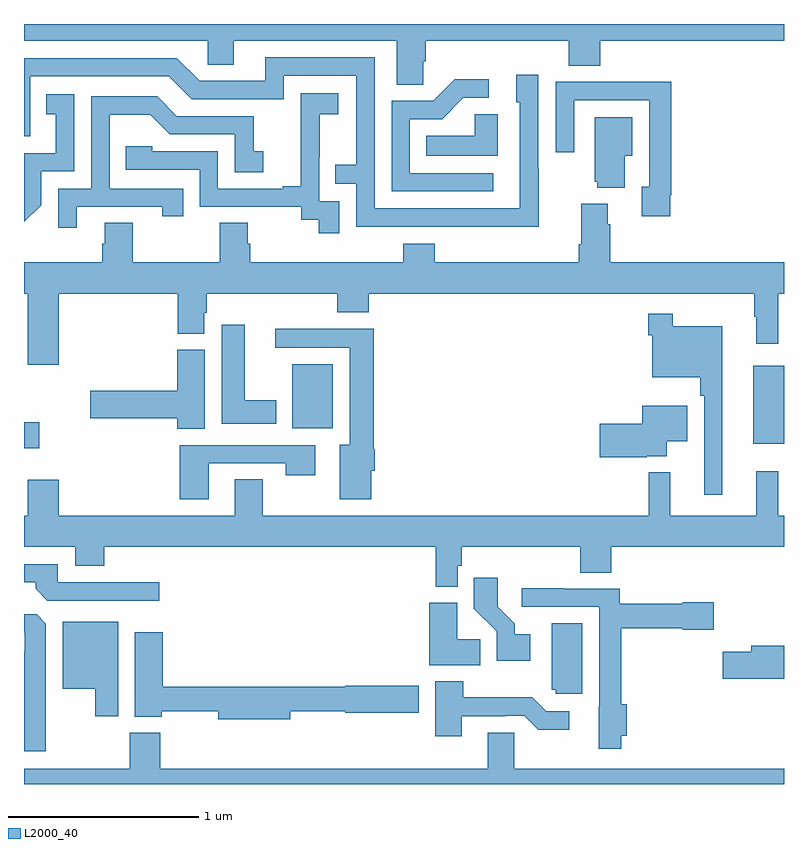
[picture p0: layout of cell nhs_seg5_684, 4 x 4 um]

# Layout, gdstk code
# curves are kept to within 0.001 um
import gdstk
lib = gdstk.Library(unit=1e-6, precision=1e-09)
def R(c, l, rs):  # rectangles x0, y0, x1, y1
    for r in rs: c.add(gdstk.rectangle(r[:2], r[2:], *l))
def P(c, l, *ps):  # polygons
    for p in ps: c.add(gdstk.Polygon(p, *l))
L2000_40 = (2000, 40)

nhs_seg5_684 = lib.new_cell('nhs_seg5_684')
R(nhs_seg5_684, L2000_40, [(153,902.567,153.079,902.702), (156.839,902.591,157,903.001), (154.412,902.672,154.624,903.007)])
P(nhs_seg5_684, L2000_40, [(153,904.712),(153.966,904.712),(153.966,904.585),(154.105,904.585),(154.105,904.712),(154.961,904.712),(154.961,904.48),(155.1,904.48),(155.1,904.603),(155.114,904.603),(155.114,904.712),(155.867,904.712),(155.867,904.579),(156.032,904.579),(156.032,904.712),(157,904.712),(157,904.799),(153,904.799)],
  [(155.709,904.037),(155.706,904.037),(155.706,904.531),(155.591,904.531),(155.591,904.386),(155.61,904.386),(155.61,903.828),(154.845,903.828),(154.845,904.623),(154.271,904.623),(154.271,904.5),(153.924,904.5),(153.804,904.62),(153,904.62),(153,904.209),(153.033,904.209),(153.033,904.524),(153.762,904.524),(153.882,904.404),(154.368,904.404),(154.368,904.527),(154.749,904.527),(154.749,904.058),(154.639,904.058),(154.639,903.957),(154.749,903.957),(154.749,903.732),(155.709,903.731)],
  [(155.47,904.014),(155.031,904.014),(155.031,904.299),(155.2,904.299),(155.311,904.41),(155.446,904.41),(155.446,904.508),(155.267,904.508),(155.154,904.395),(154.935,904.395),(154.935,903.918),(155.47,903.918)],
  [(156.4,903.898),(156.407,903.898),(156.407,904.496),(156.115,904.496),(156.115,904.494),(155.799,904.494),(155.799,904.125),(155.895,904.125),(155.895,904.398),(156.291,904.398),(156.291,903.942),(156.251,903.942),(156.251,903.786),(156.4,903.786)],
  [(154.659,903.867),(154.554,903.867),(154.554,904.097),(154.556,904.097),(154.556,904.325),(154.654,904.325),(154.654,904.435),(154.456,904.435),(154.456,904.229),(154.457,904.229),(154.457,903.946),(154.361,903.946),(154.361,903.933),(154.02,903.933),(154.02,904.128),(153.675,904.128),(153.675,904.155),(153.535,904.155),(153.535,904.032),(153.924,904.032),(153.924,903.837),(154.458,903.837),(154.458,903.769),(154.551,903.769),(154.551,903.699),(154.659,903.699)],
  [(153.09,903.846),(153.09,904.023),(153.264,904.023),(153.264,904.429),(153.118,904.429),(153.118,904.323),(153.167,904.323),(153.167,904.119),(153,904.119),(153,903.757)],
  [(153.277,903.837),(153.728,903.837),(153.728,903.786),(153.839,903.786),(153.839,903.933),(153.45,903.933),(153.45,904.322),(153.664,904.322),(153.768,904.218),(154.11,904.218),(154.11,904.02),(154.258,904.02),(154.258,904.129),(154.209,904.129),(154.209,904.314),(153.805,904.314),(153.7,904.419),(153.354,904.419),(153.354,903.933),(153.18,903.933),(153.18,903.726),(153.277,903.726)],
  [(155.494,904.325),(155.373,904.325),(155.373,904.21),(155.116,904.21),(155.116,904.106),(155.494,904.106)],
  [(156.163,904.106),(156.202,904.106),(156.202,904.309),(156.005,904.309),(156.005,903.969),(156.017,903.969),(156.017,903.938),(156.163,903.938)],
  [(153.184,903.38),(153.809,903.38),(153.809,903.169),(153.949,903.169),(153.949,903.279),(153.962,903.279),(153.962,903.38),(154.649,903.38),(154.649,903.281),(154.814,903.281),(154.814,903.38),(156.843,903.38),(156.843,903.257),(156.854,903.257),(156.854,903.117),(156.971,903.117),(156.971,903.38),(157,903.38),(157,903.544),(156.086,903.544),(156.086,903.746),(156.073,903.746),(156.073,903.853),(155.933,903.853),(155.933,903.64),(155.921,903.64),(155.921,903.544),(155.162,903.544),(155.162,903.643),(154.997,903.643),(154.997,903.544),(154.19,903.544),(154.19,903.642),(154.177,903.642),(154.177,903.752),(154.03,903.752),(154.03,903.544),(153.573,903.544),(153.573,903.752),(153.425,903.752),(153.425,903.642),(153.413,903.642),(153.413,903.544),(153,903.544),(153,903.38),(153.02,903.38),(153.02,903.006),(153.184,903.006)],
  [(156.676,903.208),(156.415,903.208),(156.415,903.274),(156.286,903.274),(156.286,903.161),(156.306,903.161),(156.306,902.939),(156.559,902.939),(156.559,902.843),(156.579,902.843),(156.579,902.322),(156.676,902.322)],
  [(154.327,902.818),(154.162,902.818),(154.162,903.217),(154.04,903.217),(154.04,902.696),(154.327,902.696)],
  [(154.828,902.448),(154.846,902.448),(154.846,902.562),(154.841,902.562),(154.841,903.194),(154.323,903.194),(154.323,903.096),(154.715,903.096),(154.715,902.584),(154.661,902.584),(154.661,902.298),(154.828,902.298)],
  [(153.952,903.084),(153.806,903.084),(153.806,902.87),(153.348,902.87),(153.348,902.723),(153.806,902.723),(153.806,902.668),(153.952,902.668)],
  [(156.278,902.525),(156.382,902.525),(156.382,902.603),(156.49,902.603),(156.49,902.791),(156.254,902.791),(156.254,902.696),(156.03,902.696),(156.03,902.52),(156.278,902.52)],
  [(153.973,902.487),(154.378,902.487),(154.378,902.424),(154.534,902.424),(154.534,902.583),(153.821,902.583),(153.821,902.298),(153.973,902.298)],
  [(155.283,901.947),(155.303,901.947),(155.303,902.048),(155.927,902.048),(155.927,901.912),(156.092,901.912),(156.092,902.048),(157,902.048),(157,902.212),(156.971,902.212),(156.971,902.446),(156.854,902.446),(156.854,902.212),(156.401,902.212),(156.401,902.44),(156.288,902.44),(156.288,902.212),(154.257,902.212),(154.257,902.402),(154.109,902.402),(154.109,902.212),(153.184,902.212),(153.184,902.401),(153.02,902.401),(153.02,902.212),(153,902.212),(153,902.048),(153.269,902.048),(153.269,901.949),(153.422,901.949),(153.422,902.048),(155.167,902.048),(155.167,901.838),(155.283,901.838)],
  [(153.712,901.86),(153.177,901.86),(153.177,901.956),(153,901.956),(153,901.86),(153.062,901.86),(153.062,901.826),(153.123,901.764),(153.712,901.764)],
  [(155.665,901.588),(155.584,901.588),(155.584,901.643),(155.494,901.733),(155.494,901.885),(155.368,901.885),(155.368,901.722),(155.487,901.603),(155.487,901.448),(155.665,901.448)],
  [(156.143,901.052),(156.173,901.052),(156.173,901.218),(156.143,901.218),(156.143,901.618),(156.468,901.618),(156.468,901.61),(156.631,901.61),(156.631,901.755),(156.468,901.755),(156.468,901.747),(156.136,901.747),(156.136,901.827),(155.843,901.827),(155.843,901.83),(155.619,901.83),(155.619,901.731),(156.027,901.731),(156.027,901.206),(156.026,901.206),(156.026,900.984),(156.143,900.984)],
  [(155.402,901.562),(155.281,901.562),(155.281,901.753),(155.132,901.753),(155.132,901.424),(155.402,901.424)],
  [(153.115,901.643),(153.066,901.692),(153,901.692),(153,901.596),(153.003,901.596),(153.003,901.499),(153,901.499),(153,900.971),(153.115,900.971)],
  [(153.496,901.654),(153.203,901.654),(153.203,901.301),(153.374,901.301),(153.374,901.155),(153.496,901.155)],
  [(155.938,901.645),(155.777,901.645),(155.777,901.296),(155.799,901.296),(155.799,901.275),(155.938,901.275)],
  [(154.402,901.182),(154.692,901.182),(154.692,901.174),(155.077,901.174),(155.077,901.316),(154.692,901.316),(154.692,901.31),(153.731,901.31),(153.731,901.597),(153.584,901.597),(153.584,901.154),(153.726,901.154),(153.726,901.182),(154.022,901.182),(154.022,901.139),(154.402,901.139)],
  [(157,901.526),(156.827,901.526),(156.827,901.496),(156.678,901.496),(156.678,901.354),(157,901.354)],
  [(155.305,901.155),(155.534,901.155),(155.534,901.158),(155.634,901.158),(155.707,901.085),(155.869,901.085),(155.869,901.182),(155.748,901.182),(155.675,901.255),(155.313,901.255),(155.313,901.339),(155.165,901.339),(155.165,901.05),(155.305,901.05)],
  [(157,900.88),(155.58,900.88),(155.58,901.07),(155.441,901.07),(155.441,900.88),(153.716,900.88),(153.716,901.069),(153.556,901.069),(153.556,900.88),(153,900.88),(153,900.799),(157,900.799)])

lib.write_gds('nhs_seg5_684.gds')
